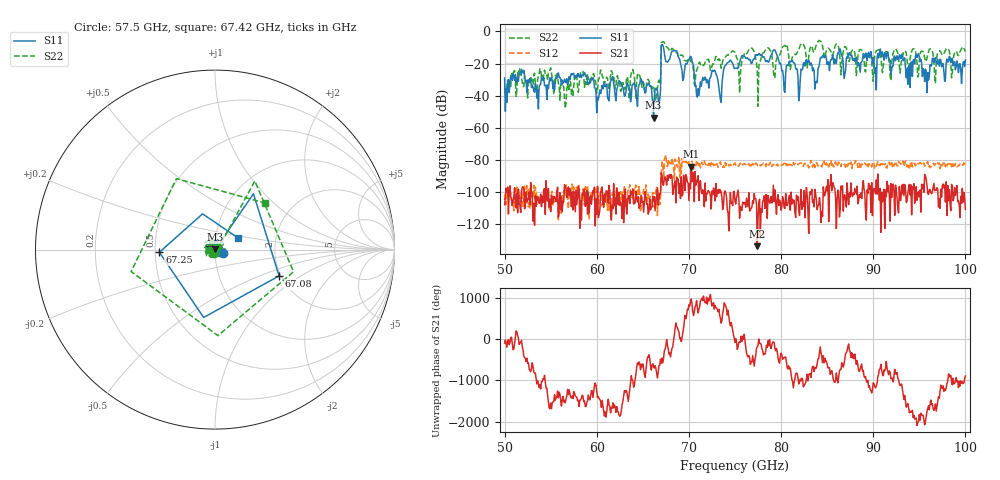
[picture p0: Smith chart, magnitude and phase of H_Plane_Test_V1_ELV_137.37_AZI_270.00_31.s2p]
! 11/27/2026 8:21:56 AM
! C:\ANRITSUVNA\TEMP\TEMP.S2P
! CHANNEL.1
! TR.MEASUREMENT
! RAW.DATA
# HZ S RI R 50.0
! FREQ.HZ  S11RE  S11IM  S21RE  S21IM  S12RE  S12IM  S22RE  S22IM
!; PortSelection: Port_12
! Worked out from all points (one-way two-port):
!   601 points, 50 GHz to 100 GHz, reference 50 ohm
!   highest |S21| = -84.39 dB at 70.25 GHz (marker M1); lowest = -134.0 dB at 77.42 GHz (marker M2)
!   lowest |S11| = -53.8 dB at 66.17 GHz (marker M3), VSWR 1.00, Z = 50.1 + j0.154 ohm
!   |S11| at or under -10 dB: start of sweep to 67 GHz; 67.24 GHz to end of sweep
!   |S22| runs from -48.1 to -5.6 dB; largest |S21 - S12| = 0.00016
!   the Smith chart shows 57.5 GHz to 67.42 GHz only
!   S11 on the Smith chart (normalised r, x): 57.5 GHz: 1.09, -0.05; 67.08 GHz: 1.96, -0.67; 67.25 GHz: 0.53, -0.02; 67.42 GHz: 1.29, +0.17
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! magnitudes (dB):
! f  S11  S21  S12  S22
! 50 GHz  -29.0  -108.2  -105.2  -35.6
! 51.67 GHz  -26.2  -108.6  -102.6  -23.1
! 53.42 GHz  -34.7  -109.1  -98.9  -34.9
! 57.5 GHz  -26.1  -99.5  -97.0  -34.4
! 58.42 GHz  -27.1  -101.4  -103.9  -24.7
! 60.17 GHz  -42.7  -116.2  -107.7  -30.2
! 66.17 GHz  -53.8  -106.1  -101.1  -34.0
! 66.67 GHz  -41.8  -108.4  -99.5  -31.5
! 67.08 GHz  -8.3  -89.9  -81.5  -6.8
! 67.25 GHz  -10.2  -96.0  -92.1  -6.3
! 67.42 GHz  -16.8  -90.7  -78.5  -8.4
! 70.25 GHz  -16.0  -84.4  -85.3  -18.8
! 70.92 GHz  -40.9  -92.6  -82.6  -23.1
! 75 GHz  -23.1  -106.3  -82.2  -13.0
! 77.42 GHz  -14.9  -134.0  -83.6  -23.3
! 78.5 GHz  -18.2  -116.6  -82.3  -10.8
! 83.42 GHz  -24.6  -106.9  -84.7  -10.9
! 91.67 GHz  -16.6  -96.0  -81.8  -15.3
! 93.75 GHz  -33.0  -101.4  -84.1  -21.7
! 94.83 GHz  -14.9  -101.5  -82.3  -28.4
! 95.83 GHz  -38.2  -96.3  -81.9  -16.4
! 100 GHz  -17.8  -111.0  -83.5  -12.6
